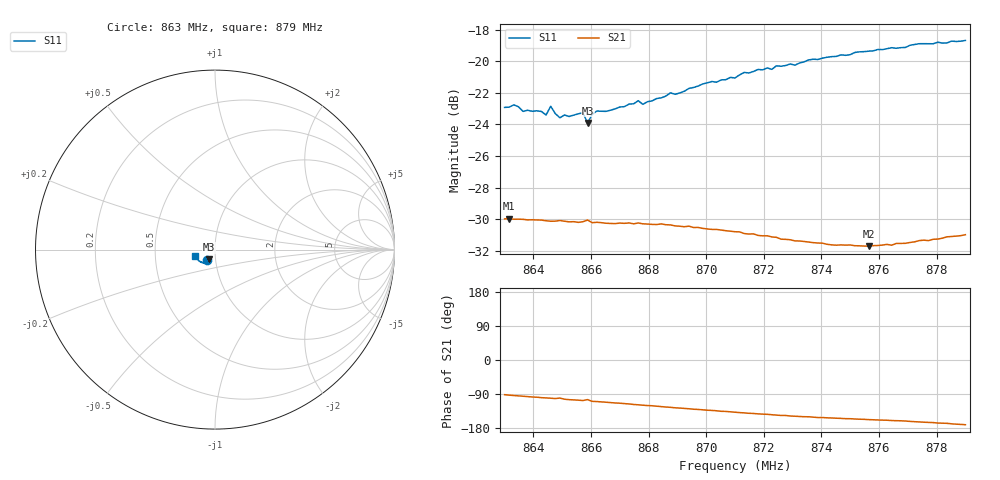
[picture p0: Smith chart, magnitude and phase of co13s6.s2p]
# HZ S RI R 50
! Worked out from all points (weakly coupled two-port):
!   101 points, 863 MHz to 879 MHz, reference 50 ohm
!   highest |S21| = -29.97 dB at 863.16 MHz (marker M1); lowest = -31.7 dB at 875.64 MHz (marker M2)
!   lowest |S11| = -23.9 dB at 865.88 MHz (marker M3), VSWR 1.14, Z = 46.3 - j4.94 ohm
!   |S11| at or under -10 dB: start of sweep to end of sweep
!   S12 and S22 are empty: the file has one direction only
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8.63e8  -0.0432 -0.0569  -0.000808 -0.0317  0 0  0 0
8.6316e8  -0.0443 -0.0562  -0.00155 -0.0317  0 0  0 0
8.6332e8  -0.0458 -0.0565  -0.00203 -0.0315  0 0  0 0
8.6364e8  -0.0416 -0.0555  -0.0031 -0.0314  0 0  0 0
8.6428e8  -0.0394 -0.057  -0.00513 -0.031  0 0  0 0
8.6444e8  -0.0397 -0.0546  -0.00546 -0.0308  0 0  0 0
8.646e8  -0.044 -0.057  -0.00585 -0.0306  0 0  0 0
8.6492e8  -0.0355 -0.0559  -0.0057 -0.0308  0 0  0 0
8.6572e8  -0.0362 -0.0583  -0.00905 -0.0297  0 0  0 0
8.6588e8  -0.0354 -0.0531  -0.00784 -0.0304  0 0  0 0
8.662e8  -0.0361 -0.0595  -0.0104 -0.0291  0 0  0 0
8.6652e8  -0.0343 -0.0603  -0.0112 -0.0286  0 0  0 0
8.6764e8  -0.0366 -0.0655  -0.0145 -0.0271  0 0  0 0
8.678e8  -0.036 -0.0636  -0.0149 -0.0267  0 0  0 0
8.6844e8  -0.0371 -0.067  -0.0166 -0.0256  0 0  0 0
8.6988e8  -0.0431 -0.0729  -0.0196 -0.0222  0 0  0 0
8.71e8  -0.0501 -0.073  -0.0214 -0.0194  0 0  0 0
8.7132e8  -0.0534 -0.0751  -0.0217 -0.0184  0 0  0 0
8.7372e8  -0.0705 -0.073  -0.0233 -0.013  0 0  0 0
8.7564e8  -0.0854 -0.0655  -0.024 -0.01  0 0  0 0
8.7644e8  -0.0928 -0.0597  -0.0245 -0.00904  0 0  0 0
8.79e8  -0.11 -0.038  -0.0279 -0.00451  0 0  0 0
